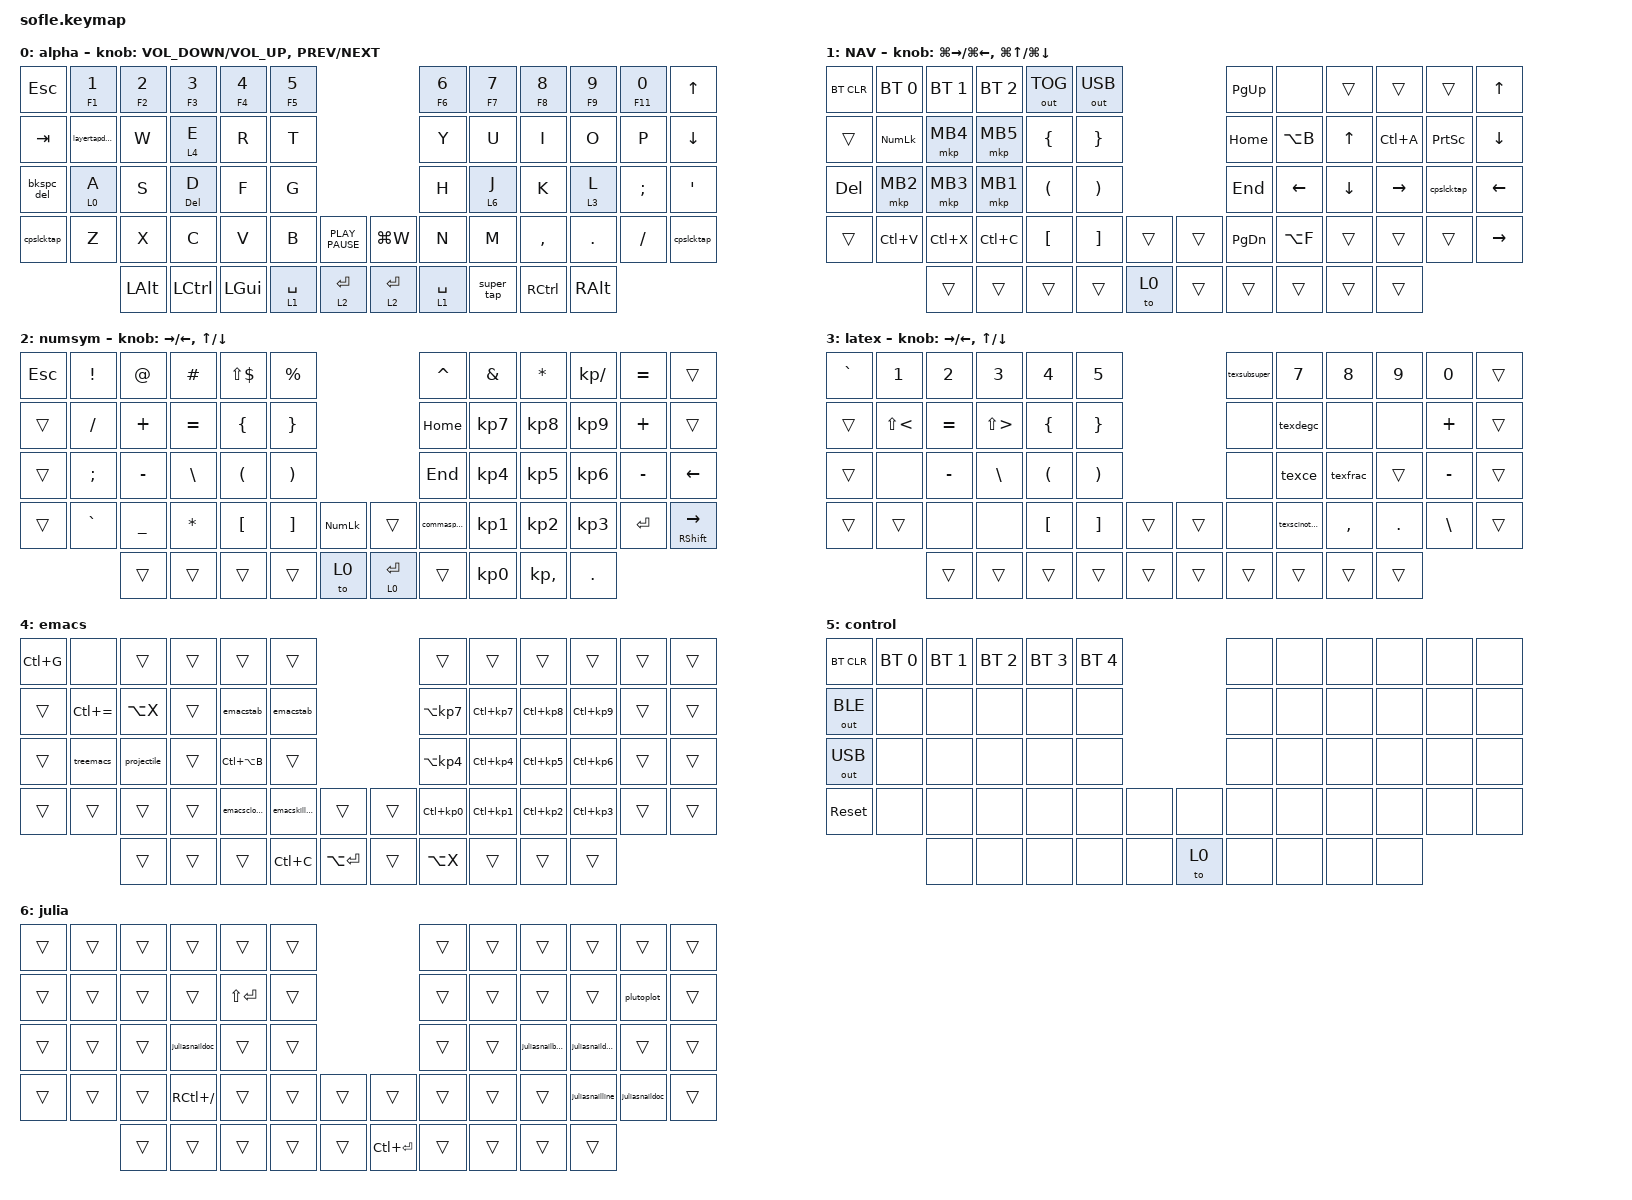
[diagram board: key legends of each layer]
#include <dt-bindings/zmk/mouse.h>
#include <dt-bindings/zmk/mouse.h>
#include <behaviors.dtsi>
#include <dt-bindings/zmk/bt.h>
#include <dt-bindings/zmk/keys.h>
#include <dt-bindings/zmk/outputs.h>
#include <dt-bindings/zmk/pointing.h>

&caps_word { continue-list = <UNDERSCORE BACKSPACE DELETE PLUS KP_PLUS CARET LEFT_BRACE RIGHT_BRACE LEFT_BRACKET RIGHT_BRACKET LESS_THAN GREATER_THAN EQUAL KP_EQUAL>; };

/ {
    combos {
        compatible = "zmk,combos";

        ESCQW {
            bindings = <&kp ESCAPE>;
            key-positions = <13 14>;
            layers = <0 2 1>;
        };

        toalpha {
            bindings = <&to 6>;
            key-positions = <54 55>;
            layers = <1 2 3 4>;
        };

        tognav {
            bindings = <&tog 1>;
            key-positions = <11 23>;
        };

        leftspc {
            bindings = <&kp SPACE>;
            key-positions = <53 52>;
        };

        rtent {
            bindings = <&kp RET>;
            key-positions = <49 35>;
        };

        rtbkspc {
            bindings = <&kp BACKSPACE>;
            key-positions = <49 35 11>;
        };

        spmulti {
            bindings = <&kp SPACE>;
            key-positions = <53 56>;
        };
    };

    behaviors {
        dash: dash {
            compatible = "zmk,behavior-tap-dance";
            label = "DASH";
            #binding-cells = <0>;
            bindings = <&kp SQT>, <&kp MINUS>;
        };

        layerUpBase: layerUpBase {
            compatible = "zmk,behavior-hold-tap";
            label = "LAYERUPBASE";
            bindings = <&mo>, <&to>;

            #binding-cells = <2>;
            tapping-term-ms = <200>;
            flavor = "tap-preferred";
        };

        bkspc_del: bkspc_del {
            compatible = "zmk,behavior-mod-morph";
            label = "BKSPC_DEL";
            bindings = <&kp BACKSPACE>, <&kp DELETE>;

            #binding-cells = <0>;
            mods = <(MOD_LALT)>;
        };

        tphldkpkp: tphldkpkp {
            compatible = "zmk,behavior-hold-tap";
            label = "TPHLDKPKP";
            bindings = <&kp>, <&kp>;

            #binding-cells = <2>;
            tapping-term-ms = <200>;
            flavor = "tap-preferred";
        };

        divideslash: divideslash {
            compatible = "zmk,behavior-tap-dance";
            label = "DIVIDESLASH";
            #binding-cells = <0>;
            bindings = <&kp SLASH>, <&kp BACKSLASH>;
        };

        cpslcktap: cpslcktap {
            compatible = "zmk,behavior-tap-dance";
            label = "CPSLCKTAP";
            #binding-cells = <0>;
            bindings = <&kp LEFT_SHIFT>, <&caps_word>, <&kp CAPSLOCK>;
        };

        slayerhold: slayerhold {
            compatible = "zmk,behavior-hold-tap";
            label = "SLAYERHOLD";
            bindings = <&sl>, <&kp>;

            #binding-cells = <2>;
            tapping-term-ms = <500>;
            flavor = "tap-preferred";
        };

        plusequalpipe: plusequalpipe {
            compatible = "zmk,behavior-tap-dance";
            label = "PLUSEQUALPIPE";
            #binding-cells = <0>;
            bindings = <&kp EQUAL>, <&kp PLUS>, <&kp PIPE>;

            tapping-term-ms = <150>;
        };

        tolayerhold: tolayerhold {
            compatible = "zmk,behavior-hold-tap";
            label = "TOLAYERHOLD";
            bindings = <&to>, <&kp>;

            #binding-cells = <2>;
            tapping-term-ms = <350>;
            flavor = "tap-preferred";
        };

        molayerhold: molayerhold {
            compatible = "zmk,behavior-hold-tap";
            label = "MOLAYERHOLD";
            bindings = <&mo>, <&kp>;

            #binding-cells = <2>;
            tapping-term-ms = <200>;
            flavor = "tap-preferred";
        };

        deletedtap: deletedtap {
            compatible = "zmk,behavior-tap-dance";
            label = "DELETEDTAP";
            #binding-cells = <0>;
            bindings = <&kp D>, <&kp D>, <&kp DEL>;
        };

        plus0: plus0 {
            compatible = "zmk,behavior-mod-morph";
            label = "PLUS0";
            bindings = <&tphldkpkp F11 N0>, <&plusequalpipe>;

            #binding-cells = <0>;
            mods = <(MOD_LALT|MOD_RALT)>;
        };

        minus9: minus9 {
            compatible = "zmk,behavior-mod-morph";
            label = "MINUS9";
            bindings = <&tphldkpkp F9 N9>, <&minusunder>;

            #binding-cells = <0>;
            mods = <(MOD_LALT|MOD_RALT)>;
        };

        minusunder: minusunder {
            compatible = "zmk,behavior-tap-dance";
            label = "MINUSUNDER";
            #binding-cells = <0>;
            bindings = <&kp MINUS>, <&kp UNDER>;
        };

        texsubsuper: texsubsuper {
            compatible = "zmk,behavior-tap-dance";
            label = "TEXSUBSUPER";
            #binding-cells = <0>;
            bindings = <&texsuper>, <&texsub>;
        };

        layertapdanceq: layertapdanceq {
            compatible = "zmk,behavior-tap-dance";
            label = "LAYERTAPDANCEQ";
            #binding-cells = <0>;
            bindings = <&molayerhold 2 Q>, <&to 2>;
        };

        backto1: backto1 {
            compatible = "zmk,behavior-tap-dance";
            label = "BACKTO1";
            #binding-cells = <0>;
            bindings = <&kp CARET>, <&to 0>;
        };

        super_tap: super_tap {
            compatible = "zmk,behavior-tap-dance";
            label = "SUPER_TAP";
            #binding-cells = <0>;
            bindings = <&kp LEFT_GUI>, <&kp LG(TAB)>;
        };
    };

    macros {
        texce: texce {
            compatible = "zmk,behavior-macro";
            #binding-cells = <0>;
            bindings = <&kp BSLH &kp C &kp E &kp LEFT_BRACE &kp SPACE &kp SPACE &kp RBRC &kp LEFT &kp LEFT>;
            label = "TEXCE";
        };

        texfrac: texfrac {
            compatible = "zmk,behavior-macro";
            #binding-cells = <0>;
            bindings = <&none &kp BSLH &kp F &kp R &kp A &kp C &kp LEFT_BRACE &kp SPACE &kp SPACE &kp RBRC &kp LEFT_BRACE &kp SPACE &kp SPACE &kp RBRC &kp LEFT &kp LEFT &kp LEFT &kp LEFT &kp LEFT>;
            label = "TEXFRAC";
        };

        texsuper: texsuper {
            compatible = "zmk,behavior-macro";
            #binding-cells = <0>;
            bindings = <&kp CARET &kp LBRC &kp SPACE &kp SPACE &kp RIGHT_BRACE &kp LEFT &kp LEFT>;
            label = "TEXSUPER";
        };

        texsub: texsub {
            compatible = "zmk,behavior-macro";
            #binding-cells = <0>;
            bindings = <&kp UNDERSCORE &kp LBRC &kp SPACE &kp SPACE &kp RIGHT_BRACE &kp LEFT &kp LEFT>;
            label = "TEXSUB";
        };

        treemacs: treemacs {
            compatible = "zmk,behavior-macro";
            #binding-cells = <0>;
            bindings = <&kp LC(C) &kp W>;
            label = "TREEMACS";
        };

        projectile: projectile {
            compatible = "zmk,behavior-macro";
            #binding-cells = <0>;
            bindings = <&kp LC(P) &kp P>;
            label = "PROJECTILE";
        };

        commaspace: commaspace {
            compatible = "zmk,behavior-macro";
            #binding-cells = <0>;
            bindings = <&kp COMMA &kp SPACE>;
            label = "COMMASPACE";
        };

        texscinotation: texscinotation {
            compatible = "zmk,behavior-macro";
            #binding-cells = <0>;
            bindings = <&kp DLLR &kp SPACE &kp SPACE &kp BSLH &kp T &kp I &kp M &kp E &kp S &kp SPACE &kp N1 &kp N0 &kp CARET &kp LEFT_BRACE &kp RBRC &kp DLLR &kp LEFT &kp LEFT>;
            label = "TEXSCINOTATION";
        };

        texdegc: texdegc {
            compatible = "zmk,behavior-macro";
            #binding-cells = <0>;
            bindings = <&kp DLLR &kp SPACE &kp SPACE &kp CARET &kp BSLH &kp C &kp I &kp R &kp C &kp SPACE &kp BSLH &kp T &kp E &kp X &kp T &kp LEFT_BRACE &kp LS(C) &kp RBRC &kp DLLR>;
            label = "TEXDEGC";
        };

        plutoplot: plutoplot {
            compatible = "zmk,behavior-macro";
            #binding-cells = <0>;
            bindings = <&none &kp B &kp E &kp G &kp I &kp N &kp RET &kp SPACE &kp SPACE &kp SPACE &kp P &kp L &kp O &kp T &kp LPAR &kp X &kp COMMA &kp SPACE &kp Y &kp COMMA &kp SPACE &kp B &kp O &kp R &kp D &kp E &kp R &kp EQUAL &kp COLON &kp B &kp O &kp X &kp COMMA &kp SPACE &kp L &kp E &kp G &kp E &kp N &kp D &kp EQUAL &kp F &kp A &kp L &kp S &kp E &kp COMMA &kp SPACE &kp G &kp R &kp I &kp D &kp EQUAL &kp F &kp A &kp L &kp S &kp E &kp RPAR &kp RET &kp E &kp N &kp D>;
            label = "PLUTOPLOT";
        };

        juliasnailline: juliasnailline {
            compatible = "zmk,behavior-macro";
            #binding-cells = <0>;
            bindings = <&kp LC(C) &kp LC(L) &kp DOWN>;
            label = "JULIASNAILLINE";
        };

        juliasnailbuffer: juliasnailbuffer {
            compatible = "zmk,behavior-macro";
            #binding-cells = <0>;
            bindings = <&kp LC(C) &kp LC(K)>;
            label = "JULIASNAILBUFFER";
        };

        juliasnaildoc: juliasnaildoc {
            compatible = "zmk,behavior-macro";
            #binding-cells = <0>;
            bindings = <&kp LC(C) &kp LC(D)>;
            label = "JULIASNAILDOC";
        };

        emacstab: emacstab {
            compatible = "zmk,behavior-macro";
            #binding-cells = <0>;
            bindings = <&kp LC(C) &kp T>;
            label = "EMACSTAB";
        };

        emacsclosewindow: emacsclosewindow {
            compatible = "zmk,behavior-macro";
            #binding-cells = <0>;
            bindings = <&kp LC(X) &kp NUMBER_0>;
            label = "EMACSCLOSEWINDOW";
        };

        emacskillbuffer: emacskillbuffer {
            compatible = "zmk,behavior-macro";
            #binding-cells = <0>;
            bindings = <&kp LC(X) &kp K>;
            label = "EMACSKILLBUFFER";
        };

        juliasnaildwim: juliasnaildwim {
            compatible = "zmk,behavior-macro";
            #binding-cells = <0>;
            bindings = <&kp LC(C) &kp LC(E) &kp DOWN>;
            label = "JULIASNAILDWIM";
        };

        emacsopen: emacsopen {
            compatible = "zmk,behavior-macro";
            #binding-cells = <0>;
            bindings = <&kp LC(X) &kp LC(F)>;
            label = "EMACSOPEN";
        };
    };

    keymap {
        compatible = "zmk,keymap";

        alpha {
            bindings = <
&kp ESC     &tphldkpkp F1 NUMBER_1  &tphldkpkp F2 NUMBER_2  &tphldkpkp F3 NUMBER_3  &tphldkpkp F4 NUMBER_4  &tphldkpkp F5 NUMBER_5                                            &tphldkpkp F6 NUMBER_6  &tphldkpkp F7 NUMBER_7  &tphldkpkp F8 NUMBER_8  &tphldkpkp F9 N9  &tphldkpkp F11 N0  &kp UP
&kp TAB     &layertapdanceq         &kp W                   &molayerhold 4 E        &kp R                   &kp T                                                             &kp Y                   &kp U                   &kp I                   &kp O             &kp P              &kp DOWN
&bkspc_del  &molayerhold 0 A        &kp S                   &tphldkpkp DEL D        &kp F                   &kp G                                                             &kp H                   &molayerhold 6 J        &kp K                   &molayerhold 3 L  &kp SEMI           &kp SQT
&cpslcktap  &kp Z                   &kp X                   &kp C                   &kp V                   &kp B                   &kp K_PLAY_PAUSE      &kp LG(W)           &kp N                   &kp M                   &kp COMMA               &kp DOT           &kp SLASH          &cpslcktap
                                    &kp LALT                &kp LCTRL               &kp LGUI                &molayerhold 1 SPACE    &molayerhold 2 RET    &molayerhold 2 RET  &molayerhold 1 SPACE    &super_tap              &kp RCTRL               &kp RALT
            >;

            sensor-bindings =
                <&inc_dec_kp C_VOLUME_DOWN C_VOLUME_UP>,
                <&inc_dec_kp C_PREV C_NEXT>;

            label = "alpha";
        };

        NAV {
            bindings = <
&bt BT_CLR  &bt BT_SEL 0    &bt BT_SEL 1  &bt BT_SEL 2  &out OUT_TOG          &out OUT_USB                             &kp PG_UP  &none      &trans    &trans     &trans           &kp UP
&trans      &kp KP_NUMLOCK  &mkp MB4      &mkp MB5      &kp LEFT_BRACE        &kp RIGHT_BRACE                          &kp HOME   &kp LA(B)  &kp UP    &kp LC(A)  &kp PRINTSCREEN  &kp DOWN
&kp DEL     &mkp MB2        &mkp MB3      &mkp MB1      &kp LEFT_PARENTHESIS  &kp RIGHT_PARENTHESIS                    &kp END    &kp LEFT   &kp DOWN  &kp RIGHT  &cpslcktap       &kp LEFT
&trans      &kp LC(V)       &kp LC(X)     &kp LC(C)     &kp LEFT_BRACKET      &kp RIGHT_BRACKET      &trans    &trans  &kp PG_DN  &kp LA(F)  &trans    &trans     &trans           &kp RIGHT
                            &trans        &trans        &trans                &trans                 &to 0     &trans  &trans     &trans     &trans    &trans
            >;

            label = "NAV";
            sensor-bindings =
                <&inc_dec_kp LG(RIGHT) LG(LEFT)>,
                <&inc_dec_kp LG(UP_ARROW) LG(DOWN)>;
        };

        numsym {
            bindings = <
&kp ESCAPE  &kp EXCLAMATION  &kp AT     &kp HASH       &kp LS(DOLLAR)        &kp PERCENT                                                  &kp CARET    &kp AMPS         &kp ASTERISK     &kp KP_DIVIDE    &kp EQUAL  &trans
&trans      &kp SLASH        &kp PLUS   &kp EQUAL      &kp LEFT_BRACE        &kp RIGHT_BRACE                                              &kp HOME     &kp KP_NUMBER_7  &kp KP_NUMBER_8  &kp KP_NUMBER_9  &kp PLUS   &trans
&trans      &kp SEMICOLON    &kp MINUS  &kp BACKSLASH  &kp LEFT_PARENTHESIS  &kp RIGHT_PARENTHESIS                                        &kp END      &kp KP_N4        &kp KP_NUMBER_5  &kp KP_NUMBER_6  &kp MINUS  &kp LEFT
&trans      &kp GRAVE        &kp UNDER  &kp ASTERISK   &kp LBKT              &kp RBKT               &kp KP_NUMLOCK    &trans              &commaspace  &kp KP_NUMBER_1  &kp KP_NUMBER_2  &kp KP_N3        &kp RET    &tphldkpkp RIGHT_SHIFT RIGHT
                             &trans     &trans         &trans                &trans                 &to 0             &molayerhold 0 RET  &trans       &kp KP_N0        &kp KP_COMMA     &kp PERIOD
            >;

            sensor-bindings =
                <&inc_dec_kp RIGHT_ARROW LEFT>,
                <&inc_dec_kp UP DOWN>;

            label = "numsym";
        };

        latex {
            bindings = <
&kp GRAVE  &kp N1      &kp N2     &kp N3         &kp N4                &kp N5                                   &texsubsuper  &kp N7           &kp N8     &kp N9   &kp N0         &trans
&trans     &kp LS(LT)  &kp EQUAL  &kp LS(GT)     &kp LEFT_BRACE        &kp RIGHT_BRACE                          &none         &texdegc         &none      &none    &kp PLUS       &trans
&trans     &none       &kp MINUS  &kp BACKSLASH  &kp LEFT_PARENTHESIS  &kp RIGHT_PARENTHESIS                    &none         &texce           &texfrac   &trans   &kp MINUS      &trans
&trans     &trans      &none      &none          &kp LBKT              &kp RBKT               &trans    &trans  &none         &texscinotation  &kp COMMA  &kp DOT  &kp BACKSLASH  &trans
                       &trans     &trans         &trans                &trans                 &trans    &trans  &trans        &trans           &trans     &trans
            >;

            label = "latex";
            sensor-bindings =
                <&inc_dec_kp RIGHT LEFT>,
                <&inc_dec_kp UP_ARROW DOWN>;
        };

        emacs {
            bindings = <
&kp LC(G)  &none          &trans       &trans  &trans             &trans                                      &trans               &trans               &trans               &trans               &trans  &trans
&trans     &kp LC(EQUAL)  &kp LA(X)    &trans  &emacstab          &emacstab                                   &kp LA(KP_NUMBER_7)  &kp LC(KP_N7)        &kp LC(KP_N8)        &kp LC(KP_NUMBER_9)  &trans  &trans
&trans     &treemacs      &projectile  &trans  &kp LC(LA(B))      &trans                                      &kp LA(KP_N4)        &kp LC(KP_NUMBER_4)  &kp LC(KP_NUMBER_5)  &kp LC(KP_N6)        &trans  &trans
&trans     &trans         &trans       &trans  &emacsclosewindow  &emacskillbuffer  &trans            &trans  &kp LC(KP_N0)        &kp LC(KP_N1)        &kp LC(KP_N2)        &kp LC(KP_N3)        &trans  &trans
                          &trans       &trans  &trans             &kp LC(C)         &kp LA(RETURN)    &trans  &kp LA(X)            &trans               &trans               &trans
            >;

            label = "emacs";
        };

        control {
            bindings = <
&bt BT_CLR    &bt BT_SEL 0  &bt BT_SEL 1  &bt BT_SEL 2  &bt BT_SEL 3  &bt BT_SEL 4                  &none  &none  &none  &none  &none  &none
&out OUT_BLE  &none         &none         &none         &none         &none                         &none  &none  &none  &none  &none  &none
&out OUT_USB  &none         &none         &none         &none         &none                         &none  &none  &none  &none  &none  &none
&sys_reset    &none         &none         &none         &none         &none         &none    &none  &none  &none  &none  &none  &none  &none
                            &none         &none         &none         &none         &none    &to 0  &none  &none  &none  &none
            >;
        };

        julia {
            bindings = <
&trans  &trans  &trans  &trans          &trans       &trans                         &trans  &trans  &trans             &trans           &trans          &trans
&trans  &trans  &trans  &trans          &kp LS(RET)  &trans                         &trans  &trans  &trans             &trans           &plutoplot      &trans
&trans  &trans  &trans  &juliasnaildoc  &trans       &trans                         &trans  &trans  &juliasnailbuffer  &juliasnaildwim  &trans          &trans
&trans  &trans  &trans  &kp RC(SLASH)   &trans       &trans  &trans    &trans       &trans  &trans  &trans             &juliasnailline  &juliasnaildoc  &trans
                &trans  &trans          &trans       &trans  &trans    &kp LC(RET)  &trans  &trans  &trans             &trans
            >;
        };
    };
};
